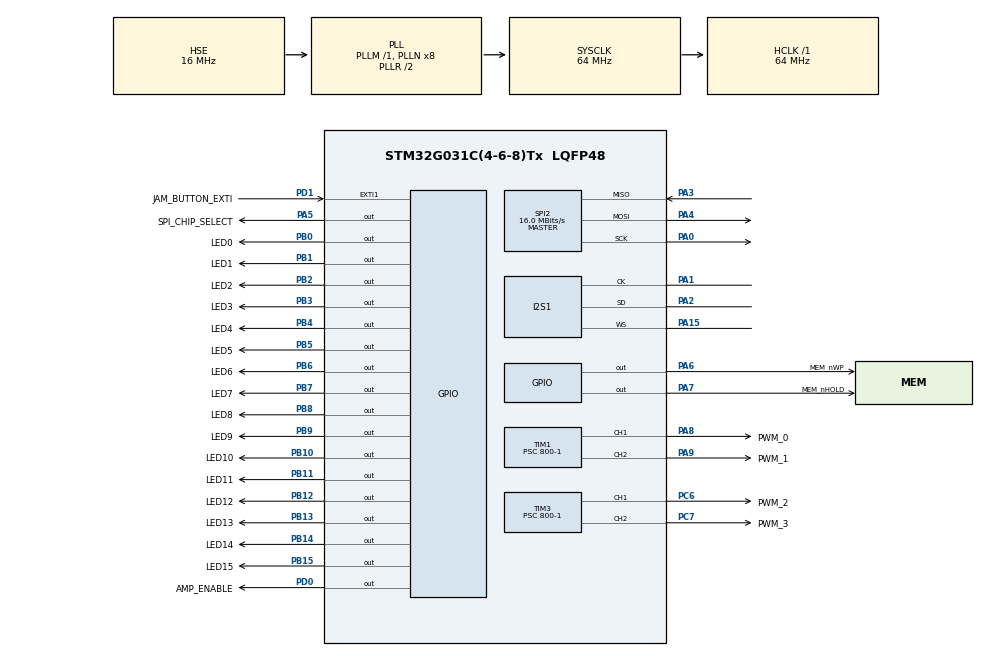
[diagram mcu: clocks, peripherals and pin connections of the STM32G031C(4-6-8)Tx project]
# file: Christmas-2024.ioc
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Dma.Request0=SPI1_TX
Dma.SPI1_TX.0.Direction=DMA_MEMORY_TO_PERIPH
Dma.SPI1_TX.0.EventEnable=DISABLE
Dma.SPI1_TX.0.Instance=DMA1_Channel1
Dma.SPI1_TX.0.MemDataAlignment=DMA_MDATAALIGN_HALFWORD
Dma.SPI1_TX.0.MemInc=DMA_MINC_ENABLE
Dma.SPI1_TX.0.Mode=DMA_CIRCULAR
Dma.SPI1_TX.0.PeriphDataAlignment=DMA_PDATAALIGN_HALFWORD
Dma.SPI1_TX.0.PeriphInc=DMA_PINC_DISABLE
Dma.SPI1_TX.0.Polarity=HAL_DMAMUX_REQ_GEN_RISING
Dma.SPI1_TX.0.Priority=DMA_PRIORITY_VERY_HIGH
Dma.SPI1_TX.0.RequestNumber=1
Dma.SPI1_TX.0.SignalID=NONE
Dma.SPI1_TX.0.SyncEnable=DISABLE
Dma.SPI1_TX.0.SyncPolarity=HAL_DMAMUX_SYNC_NO_EVENT
Dma.SPI1_TX.0.SyncRequestNumber=1
Dma.SPI1_TX.0.SyncSignalID=NONE
I2S1.AudioFreq=I2S_AUDIOFREQ_44K
I2S1.ErrorAudioFreq=1.0 %
I2S1.FullDuplexMode=I2S_FULLDUPLEXMODE_DISABLE
I2S1.Instance=SPI$Index
I2S1.RealAudioFreq=44.444 KHz
I2S1.VirtualMode=I2S_MODE_MASTER
Mcu.Family=STM32G0
Mcu.Name=STM32G031C(4-6-8)Tx
Mcu.Package=LQFP48
NVIC.DMA1_Channel1_IRQn=true\:0\:0\:false\:false\:true\:false\:true\:true
NVIC.EXTI0_1_IRQn=true\:0\:0\:false\:false\:true\:true\:true\:true
NVIC.RCC_IRQn=true\:0\:0\:false\:false\:true\:true\:false\:true
NVIC.TIM16_IRQn=true\:0\:0\:false\:false\:true\:true\:true\:true
NVIC.TIM17_IRQn=true\:0\:0\:false\:false\:true\:true\:true\:true
PA0.Mode=Full_Duplex_Master
PA0.Signal=SPI2_SCK
PA1.Mode=Half_Duplex_Master
PA1.Signal=I2S1_CK
PA13.Mode=Serial_Wire
PA13.Signal=SYS_SWDIO
PA14-BOOT0.Mode=Serial_Wire
PA14-BOOT0.Signal=SYS_SWCLK
PA15.Mode=Half_Duplex_Master
PA15.Signal=I2S1_WS
PA2.Mode=Half_Duplex_Master
PA2.Signal=I2S1_SD
PA3.Mode=Full_Duplex_Master
PA3.Signal=SPI2_MISO
PA4.Mode=Full_Duplex_Master
PA4.Signal=SPI2_MOSI
PA5.GPIO_Label=SPI_CHIP_SELECT
PA5.PinState=GPIO_PIN_SET
PA5.Signal=GPIO_Output
PA6.GPIO_Label=MEM_nWP
PA6.PinState=GPIO_PIN_SET
PA6.Signal=GPIO_Output
PA7.GPIO_Label=MEM_nHOLD
PA7.PinState=GPIO_PIN_SET
PA7.Signal=GPIO_Output
PA8.GPIO_Label=PWM_0
PA8.Signal=S_TIM1_CH1
PA9.GPIO_Label=PWM_1
PA9.Signal=S_TIM1_CH2
PB0.GPIO_Label=LED0
PB0.Signal=GPIO_Output
PB1.GPIO_Label=LED1
PB1.Signal=GPIO_Output
PB10.GPIO_Label=LED10
PB10.Signal=GPIO_Output
PB11.GPIO_Label=LED11
PB11.Signal=GPIO_Output
PB12.GPIO_Label=LED12
PB12.Signal=GPIO_Output
PB13.GPIO_Label=LED13
PB13.Signal=GPIO_Output
PB14.GPIO_Label=LED14
PB14.Signal=GPIO_Output
PB15.GPIO_Label=LED15
PB15.Signal=GPIO_Output
PB2.GPIO_Label=LED2
PB2.Signal=GPIO_Output
PB3.GPIO_Label=LED3
PB3.Signal=GPIO_Output
PB4.GPIO_Label=LED4
PB4.Signal=GPIO_Output
PB5.GPIO_Label=LED5
PB5.Signal=GPIO_Output
PB6.GPIO_Label=LED6
PB6.Signal=GPIO_Output
PB7.GPIO_Label=LED7
PB7.Signal=GPIO_Output
PB8.GPIO_Label=LED8
PB8.Signal=GPIO_Output
PB9.GPIO_Label=LED9
PB9.Signal=GPIO_Output
PC6.GPIO_Label=PWM_2
PC6.Signal=S_TIM3_CH1
PC7.GPIO_Label=PWM_3
PC7.Signal=S_TIM3_CH2
PD0.GPIO_Label=AMP_ENABLE
PD0.Signal=GPIO_Output
PD1.GPIO_Label=JAM_BUTTON_EXTI
PD1.GPIO_ModeDefaultEXTI=GPIO_MODE_IT_FALLING
PD1.GPIO_PuPd=GPIO_PULLUP
PD1.Signal=GPXTI1
PF0-OSC_IN\ (PF0).Mode=HSE-External-Oscillator
PF0-OSC_IN\ (PF0).Signal=RCC_OSC_IN
PF1-OSC_OUT\ (PF1).Mode=HSE-External-Oscillator
PF1-OSC_OUT\ (PF1).Signal=RCC_OSC_OUT
ProjectManager.HeapSize=0x200
ProjectManager.StackSize=0x400
ProjectManager.TargetToolchain=STM32CubeIDE
RCC.ADCFreq_Value=64000000
RCC.AHBFreq_Value=64000000
RCC.CortexFreq_Value=64000000
RCC.EXTERNAL_CLOCK_VALUE=12288000
RCC.HCLKFreq_Value=64000000
RCC.HSE_VALUE=16000000
RCC.HSI_VALUE=16000000
RCC.LSE_VALUE=32768
RCC.PLLP=RCC_PLLP_DIV4
RCC.PLLQ=RCC_PLLQ_DIV4
RCC.PLLSourceVirtual=RCC_PLLSOURCE_HSE
RCC.SYSCLKFreq_VALUE=64000000
RCC.SYSCLKSource=RCC_SYSCLKSOURCE_PLLCLK
RCC.VCOOutputFreq_Value=128000000
SH.S_TIM1_CH1.0=TIM1_CH1,PWM Generation1 CH1
SH.S_TIM1_CH2.0=TIM1_CH2,PWM Generation2 CH2
SH.S_TIM3_CH1.0=TIM3_CH1,PWM Generation1 CH1
SH.S_TIM3_CH2.0=TIM3_CH2,PWM Generation2 CH2
SPI2.BaudRatePrescaler=SPI_BAUDRATEPRESCALER_4
SPI2.CLKPhase=SPI_PHASE_1EDGE
SPI2.CalculateBaudRate=16.0 MBits/s
SPI2.Direction=SPI_DIRECTION_2LINES
SPI2.Mode=SPI_MODE_MASTER
SPI2.VirtualType=VM_MASTER
TIM1.Channel-PWM\ Generation1\ CH1=TIM_CHANNEL_1
TIM1.Channel-PWM\ Generation2\ CH2=TIM_CHANNEL_2
TIM1.Period=100-1
TIM1.Prescaler=800-1
TIM14.Prescaler=244*4
TIM16.Period=50674
TIM16.Prescaler=127
TIM17.Period=63999
TIM3.Channel-PWM\ Generation1\ CH1=TIM_CHANNEL_1
TIM3.Channel-PWM\ Generation2\ CH2=TIM_CHANNEL_2
TIM3.Period=100-1
TIM3.Prescaler=800-1
VP_TIM14_VS_ClockSourceINT.Mode=Enable_Timer
VP_TIM16_VS_ClockSourceINT.Mode=Enable_Timer
VP_TIM17_VS_ClockSourceINT.Mode=Enable_Timer
board=custom

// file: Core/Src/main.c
/* USER CODE BEGIN Header */
/**
  ******************************************************************************
  * @file           : main.c
  * @brief          : Main program body
  ******************************************************************************
  * @attention
  *
  * Copyright (c) 2024 STMicroelectronics.
  * All rights reserved.
  *
  * This software is licensed under terms that can be found in the LICENSE file
  * in the root directory of this software component.
  * If no LICENSE file comes with this software, it is provided AS-IS.
  *
  ******************************************************************************
  */
/* USER CODE END Header */
#include "main.h"

/* USER CODE BEGIN Includes */

/*
 * Include board-specific variable mappings
 */
#ifndef CHRISTMAS24_VARS_H_
#include "Christmas24_Vars.h"
#endif

/*
 * Include SPI Flash Memeory Driver
 */
#ifndef W25QXXX_H_
#include "W25Qxxx.h"
#endif

/*
 * Include I2S Amplifier Driver
 */
#ifndef NAU8315YG_H_
#include "NAU8315YG.h"
#endif

/* USER CODE END Includes */

I2S_HandleTypeDef hi2s1;
DMA_HandleTypeDef hdma_spi1_tx;

SPI_HandleTypeDef hspi2;

TIM_HandleTypeDef htim1;
TIM_HandleTypeDef htim3;
TIM_HandleTypeDef htim14;
TIM_HandleTypeDef htim16;
TIM_HandleTypeDef htim17;

/* USER CODE BEGIN PV */

/*
 * Timers
 */

// Timer to be used for non-blocking delays
TIM_HandleTypeDef *timerDelay = &htim14;

// Timer(s) to PWM display
TIM_HandleTypeDef *timerPWM[4] = {&htim1, &htim1, &htim3, &htim3};

// Timer to time LED changes
TIM_HandleTypeDef *timerLED = &htim16;

// Timer to perform dimming
TIM_HandleTypeDef *timerDim = &htim17;

/*
 * SPI Flash memory struct
 */
W25Q spiFlash;

/*
 * I2S amplifier struct
 */
NAU8315YG i2sAmp;

/*
 * DMA buffers & flags
 */

// Two buffers to ping-pong in between for SPI RX
uint8_t spiRxBuff[BUFFER_SIZE];

// Single circular output buffer to TX I2S audio data
uint16_t i2sTxBuff[BUFFER_SIZE * 2];
//uint16_t i2sTxBuff[BUFFER_SIZE * 2];

// Shall jam be started?
bool jamStart = false;

// Are we already jamming?
bool inJam = false;

bool stopStream = false;

// Variable to keep track of where to read audio data from in memory
uint32_t flashReadAddr = initialMemoryOffset;

// Used to keep track of where the song is and trigger LED changes.
uint32_t songIndex = 0;

uint8_t audioEn = 1;

uint32_t dimIndex = 0;

uint8_t dimNum = 0;

uint8_t systemPWM = 50;

uint32_t timerChangeIndex[7] = {1034, 0x00, 0x00, 1470, 1790, 2154, 2154 + 28};

/* USER CODE END PV */

void SystemClock_Config(void);
static void MX_GPIO_Init(void);
static void MX_DMA_Init(void);
static void MX_I2S1_Init(void);
static void MX_SPI2_Init(void);
static void MX_TIM14_Init(void);
static void MX_TIM1_Init(void);
static void MX_TIM3_Init(void);
static void MX_TIM16_Init(void);
static void MX_TIM17_Init(void);
/* USER CODE BEGIN PFP */

void flashInit(void);

/*
 * Displays non-critical error on debug LED and continues functionality
 */
void dispFault();

/*
 * Displays Critical Error on clock and halts all functionality
 */
void dispFailure();

/*
 * Begins double-buffered DMA streams to provide audio output
 */
void startAudioStream(void);

/*
 * Halts double-buffered DMA streams
 */
void stopAudioStream(void);

// Fills I2S tx buffer at a given array index offset
void fillTxBuffer(uint16_t offset);

/* USER CODE END PFP */

/* USER CODE BEGIN 0 */

int main(void)
{

	 /* USER CODE BEGIN 1 */

	  /* USER CODE END 1 */

	  /* MCU Configuration--------------------------------------------------------*/

	  /* Reset of all peripherals, Initializes the Flash interface and the Systick. */
		HAL_Init();

	  /* USER CODE BEGIN Init */

	  /* USER CODE END Init */

	  /* Configure the system clock */
	  SystemClock_Config();

	  /* USER CODE BEGIN SysInit */

	  /* USER CODE END SysInit */

	  /* Initialize all configured peripherals */
	  MX_GPIO_Init();
	  MX_DMA_Init();
	  MX_I2S1_Init();
	  MX_SPI2_Init();
	  MX_TIM1_Init();
	  MX_TIM3_Init();
	  MX_TIM14_Init();
	  MX_TIM16_Init();
	  MX_TIM17_Init();
	  /* USER CODE BEGIN 2 */

	  flashInit();

		// Init Memory Chip
		uint8_t initRet = W25Q_Init(&spiFlash, nCSPort, nWPPort, nHOLDPort,
				 nCSPin, nWPPin, nHOLDPin, &hspi2, spiFlash_devID, spiFlash_isQuadChip, spiFlash_driveStrength);

		// Enter error loop if there's an error in initialization
		if( (initRet == 1) || (initRet == 7) ) {
			/* Critical Errors:
			* 1 = Failure to release chip from power down
			* 7 = Failure to disable write protection
			*/
			dispFailure();
		}
		else if ( ((initRet >= 2) && (initRet <= 6)) || (initRet == 8) ) {
			/*
			* Non-critical Errors:
			* 2 = Failure to reset chip
			* 3,6,8 = Failure to read status registers
			* 4 = Failure to set driver strength
			* 5 = Failure to read device ID
			*/
			dispFault();
		}
		else if(initRet == 0) {
			// initRet = 0 = all is well
			__NOP();
		}

		// Init i2s amplifier
		NAU8315YG_Init(&i2sAmp, &hi2s1, i2sAmp_enablePort, i2sAmp_enablePin);

		// Increase SPI clk driver power
		GPIOA->OSPEEDR |= 0b11;

		timerChangeIndex[1] = timerChangeIndex[0] + 70;
		timerChangeIndex[2] = timerChangeIndex[1] + 66;

	  /* USER CODE END 2 */

	/* Infinite loop */
	/* USER CODE BEGIN WHILE */

	while (1)
	{

		if(jamStart && !inJam) {
			startAudioStream();
		}

	  /* USER CODE END WHILE */

	  /* USER CODE BEGIN 3 */

	}
	/* USER CODE END 3 */
}

/* USER CODE END 0 */

void SystemClock_Config(void)
{
  RCC_OscInitTypeDef RCC_OscInitStruct = {0};
  RCC_ClkInitTypeDef RCC_ClkInitStruct = {0};

  /** Configure the main internal regulator output voltage
  */
  HAL_PWREx_ControlVoltageScaling(PWR_REGULATOR_VOLTAGE_SCALE1);

  /** Initializes the RCC Oscillators according to the specified parameters
  * in the RCC_OscInitTypeDef structure.
  */
  RCC_OscInitStruct.OscillatorType = RCC_OSCILLATORTYPE_HSE;
  RCC_OscInitStruct.HSEState = RCC_HSE_ON;
  RCC_OscInitStruct.PLL.PLLState = RCC_PLL_ON;
  RCC_OscInitStruct.PLL.PLLSource = RCC_PLLSOURCE_HSE;
  RCC_OscInitStruct.PLL.PLLM = RCC_PLLM_DIV1;
  RCC_OscInitStruct.PLL.PLLN = 8;
  RCC_OscInitStruct.PLL.PLLP = RCC_PLLP_DIV4;
  RCC_OscInitStruct.PLL.PLLQ = RCC_PLLQ_DIV4;
  RCC_OscInitStruct.PLL.PLLR = RCC_PLLR_DIV2;
  if (HAL_RCC_OscConfig(&RCC_OscInitStruct) != HAL_OK)
  {
    Error_Handler();
  }

  /** Initializes the CPU, AHB and APB buses clocks
  */
  RCC_ClkInitStruct.ClockType = RCC_CLOCKTYPE_HCLK|RCC_CLOCKTYPE_SYSCLK
                              |RCC_CLOCKTYPE_PCLK1;
  RCC_ClkInitStruct.SYSCLKSource = RCC_SYSCLKSOURCE_PLLCLK;
  RCC_ClkInitStruct.AHBCLKDivider = RCC_SYSCLK_DIV1;
  RCC_ClkInitStruct.APB1CLKDivider = RCC_HCLK_DIV1;

  if (HAL_RCC_ClockConfig(&RCC_ClkInitStruct, FLASH_LATENCY_2) != HAL_OK)
  {
    Error_Handler();
  }
}

static void MX_I2S1_Init(void)
{

  hi2s1.Instance = SPI1;
  hi2s1.Init.Mode = I2S_MODE_MASTER_TX;
  hi2s1.Init.Standard = I2S_STANDARD_PHILIPS;
  hi2s1.Init.DataFormat = I2S_DATAFORMAT_16B;
  hi2s1.Init.MCLKOutput = I2S_MCLKOUTPUT_DISABLE;
  hi2s1.Init.AudioFreq = I2S_AUDIOFREQ_44K;
  hi2s1.Init.CPOL = I2S_CPOL_LOW;
  if (HAL_I2S_Init(&hi2s1) != HAL_OK)
  {
    Error_Handler();
  }

}

static void MX_SPI2_Init(void)
{

  /* SPI2 parameter configuration*/
  hspi2.Instance = SPI2;
  hspi2.Init.Mode = SPI_MODE_MASTER;
  hspi2.Init.Direction = SPI_DIRECTION_2LINES;
  hspi2.Init.DataSize = SPI_DATASIZE_8BIT;
  hspi2.Init.CLKPolarity = SPI_POLARITY_LOW;
  hspi2.Init.CLKPhase = SPI_PHASE_1EDGE;
  hspi2.Init.NSS = SPI_NSS_SOFT;
  hspi2.Init.BaudRatePrescaler = SPI_BAUDRATEPRESCALER_4;
  hspi2.Init.FirstBit = SPI_FIRSTBIT_MSB;
  hspi2.Init.TIMode = SPI_TIMODE_DISABLE;
  hspi2.Init.CRCCalculation = SPI_CRCCALCULATION_DISABLE;
  hspi2.Init.CRCPolynomial = 7;
  hspi2.Init.CRCLength = SPI_CRC_LENGTH_DATASIZE;
  hspi2.Init.NSSPMode = SPI_NSS_PULSE_ENABLE;
  if (HAL_SPI_Init(&hspi2) != HAL_OK)
  {
    Error_Handler();
  }

}

static void MX_TIM1_Init(void)
{

  TIM_MasterConfigTypeDef sMasterConfig = {0};
  TIM_OC_InitTypeDef sConfigOC = {0};
  TIM_BreakDeadTimeConfigTypeDef sBreakDeadTimeConfig = {0};

  htim1.Instance = TIM1;
  htim1.Init.Prescaler = 800-1;
  htim1.Init.CounterMode = TIM_COUNTERMODE_UP;
  htim1.Init.Period = 100-1;
  htim1.Init.ClockDivision = TIM_CLOCKDIVISION_DIV1;
  htim1.Init.RepetitionCounter = 0;
  htim1.Init.AutoReloadPreload = TIM_AUTORELOAD_PRELOAD_DISABLE;
  if (HAL_TIM_PWM_Init(&htim1) != HAL_OK)
  {
    Error_Handler();
  }
  sMasterConfig.MasterOutputTrigger = TIM_TRGO_RESET;
  sMasterConfig.MasterOutputTrigger2 = TIM_TRGO2_RESET;
  sMasterConfig.MasterSlaveMode = TIM_MASTERSLAVEMODE_DISABLE;
  if (HAL_TIMEx_MasterConfigSynchronization(&htim1, &sMasterConfig) != HAL_OK)
  {
    Error_Handler();
  }
  sConfigOC.OCMode = TIM_OCMODE_PWM1;
  sConfigOC.Pulse = 0;
  sConfigOC.OCPolarity = TIM_OCPOLARITY_HIGH;
  sConfigOC.OCNPolarity = TIM_OCNPOLARITY_HIGH;
  sConfigOC.OCFastMode = TIM_OCFAST_DISABLE;
  sConfigOC.OCIdleState = TIM_OCIDLESTATE_RESET;
  sConfigOC.OCNIdleState = TIM_OCNIDLESTATE_RESET;
  if (HAL_TIM_PWM_ConfigChannel(&htim1, &sConfigOC, TIM_CHANNEL_1) != HAL_OK)
  {
    Error_Handler();
  }
  if (HAL_TIM_PWM_ConfigChannel(&htim1, &sConfigOC, TIM_CHANNEL_2) != HAL_OK)
  {
    Error_Handler();
  }
  sBreakDeadTimeConfig.OffStateRunMode = TIM_OSSR_DISABLE;
  sBreakDeadTimeConfig.OffStateIDLEMode = TIM_OSSI_DISABLE;
  sBreakDeadTimeConfig.LockLevel = TIM_LOCKLEVEL_OFF;
  sBreakDeadTimeConfig.DeadTime = 0;
  sBreakDeadTimeConfig.BreakState = TIM_BREAK_DISABLE;
  sBreakDeadTimeConfig.BreakPolarity = TIM_BREAKPOLARITY_HIGH;
  sBreakDeadTimeConfig.BreakFilter = 0;
  sBreakDeadTimeConfig.BreakAFMode = TIM_BREAK_AFMODE_INPUT;
  sBreakDeadTimeConfig.Break2State = TIM_BREAK2_DISABLE;
  sBreakDeadTimeConfig.Break2Polarity = TIM_BREAK2POLARITY_HIGH;
  sBreakDeadTimeConfig.Break2Filter = 0;
  sBreakDeadTimeConfig.Break2AFMode = TIM_BREAK_AFMODE_INPUT;
  sBreakDeadTimeConfig.AutomaticOutput = TIM_AUTOMATICOUTPUT_DISABLE;
  if (HAL_TIMEx_ConfigBreakDeadTime(&htim1, &sBreakDeadTimeConfig) != HAL_OK)
  {
    Error_Handler();
  }
  HAL_TIM_MspPostInit(&htim1);

}

static void MX_TIM3_Init(void)
{

  TIM_MasterConfigTypeDef sMasterConfig = {0};
  TIM_OC_InitTypeDef sConfigOC = {0};

  htim3.Instance = TIM3;
  htim3.Init.Prescaler = 800-1;
  htim3.Init.CounterMode = TIM_COUNTERMODE_UP;
  htim3.Init.Period = 100-1;
  htim3.Init.ClockDivision = TIM_CLOCKDIVISION_DIV1;
  htim3.Init.AutoReloadPreload = TIM_AUTORELOAD_PRELOAD_DISABLE;
  if (HAL_TIM_PWM_Init(&htim3) != HAL_OK)
  {
    Error_Handler();
  }
  sMasterConfig.MasterOutputTrigger = TIM_TRGO_RESET;
  sMasterConfig.MasterSlaveMode = TIM_MASTERSLAVEMODE_DISABLE;
  if (HAL_TIMEx_MasterConfigSynchronization(&htim3, &sMasterConfig) != HAL_OK)
  {
    Error_Handler();
  }
  sConfigOC.OCMode = TIM_OCMODE_PWM1;
  sConfigOC.Pulse = 0;
  sConfigOC.OCPolarity = TIM_OCPOLARITY_HIGH;
  sConfigOC.OCFastMode = TIM_OCFAST_DISABLE;
  if (HAL_TIM_PWM_ConfigChannel(&htim3, &sConfigOC, TIM_CHANNEL_1) != HAL_OK)
  {
    Error_Handler();
  }
  if (HAL_TIM_PWM_ConfigChannel(&htim3, &sConfigOC, TIM_CHANNEL_2) != HAL_OK)
  {
    Error_Handler();
  }
  HAL_TIM_MspPostInit(&htim3);

}

static void MX_TIM14_Init(void)
{

  htim14.Instance = TIM14;
  htim14.Init.Prescaler = 244*4;
  htim14.Init.CounterMode = TIM_COUNTERMODE_UP;
  htim14.Init.Period = 65535;
  htim14.Init.ClockDivision = TIM_CLOCKDIVISION_DIV1;
  htim14.Init.AutoReloadPreload = TIM_AUTORELOAD_PRELOAD_DISABLE;
  if (HAL_TIM_Base_Init(&htim14) != HAL_OK)
  {
    Error_Handler();
  }

}

static void MX_TIM16_Init(void)
{

  htim16.Instance = TIM16;
  htim16.Init.Prescaler = 127;
  htim16.Init.CounterMode = TIM_COUNTERMODE_UP;
  htim16.Init.Period = 50674;
  htim16.Init.ClockDivision = TIM_CLOCKDIVISION_DIV1;
  htim16.Init.RepetitionCounter = 0;
  htim16.Init.AutoReloadPreload = TIM_AUTORELOAD_PRELOAD_DISABLE;
  if (HAL_TIM_Base_Init(&htim16) != HAL_OK)
  {
    Error_Handler();
  }

}

static void MX_TIM17_Init(void)
{

  htim17.Instance = TIM17;
  htim17.Init.Prescaler = 4-1;
  htim17.Init.CounterMode = TIM_COUNTERMODE_UP;
  htim17.Init.Period = 63999;
  htim17.Init.ClockDivision = TIM_CLOCKDIVISION_DIV1;
  htim17.Init.RepetitionCounter = 0;
  htim17.Init.AutoReloadPreload = TIM_AUTORELOAD_PRELOAD_DISABLE;
  if (HAL_TIM_Base_Init(&htim17) != HAL_OK)
  {
    Error_Handler();
  }

}

static void MX_DMA_Init(void)
{

  /* DMA controller clock enable */
  __HAL_RCC_DMA1_CLK_ENABLE();

  /* DMA interrupt init */
  /* DMA1_Channel1_IRQn interrupt configuration */
  HAL_NVIC_SetPriority(DMA1_Channel1_IRQn, 0, 0);
  HAL_NVIC_EnableIRQ(DMA1_Channel1_IRQn);

}

static void MX_GPIO_Init(void)
{
  GPIO_InitTypeDef GPIO_InitStruct = {0};

  /* GPIO Ports Clock Enable */
  __HAL_RCC_GPIOF_CLK_ENABLE();
  __HAL_RCC_GPIOA_CLK_ENABLE();
  __HAL_RCC_GPIOB_CLK_ENABLE();
  __HAL_RCC_GPIOC_CLK_ENABLE();
  __HAL_RCC_GPIOD_CLK_ENABLE();

  /*Configure GPIO pin Output Level */
  HAL_GPIO_WritePin(GPIOA, SPI_CHIP_SELECT_Pin|MEM_nWP_Pin|MEM_nHOLD_Pin, GPIO_PIN_SET);

  /*Configure GPIO pin Output Level */
  HAL_GPIO_WritePin(GPIOB, LED0_Pin|LED1_Pin|LED2_Pin|LED10_Pin
                          |LED11_Pin|LED12_Pin|LED13_Pin|LED14_Pin
                          |LED15_Pin|LED3_Pin|LED4_Pin|LED5_Pin
                          |LED6_Pin|LED7_Pin|LED8_Pin|LED9_Pin, GPIO_PIN_RESET);

  /*Configure GPIO pin Output Level */
  HAL_GPIO_WritePin(AMP_ENABLE_GPIO_Port, AMP_ENABLE_Pin, GPIO_PIN_RESET);

  /*Configure GPIO pins : SPI_CHIP_SELECT_Pin MEM_nWP_Pin MEM_nHOLD_Pin */
  GPIO_InitStruct.Pin = SPI_CHIP_SELECT_Pin|MEM_nWP_Pin|MEM_nHOLD_Pin;
  GPIO_InitStruct.Mode = GPIO_MODE_OUTPUT_PP;
  GPIO_InitStruct.Pull = GPIO_NOPULL;
  GPIO_InitStruct.Speed = GPIO_SPEED_FREQ_LOW;
  HAL_GPIO_Init(GPIOA, &GPIO_InitStruct);

  /*Configure GPIO pins : LED0_Pin LED1_Pin LED2_Pin LED10_Pin
                           LED11_Pin LED12_Pin LED13_Pin LED14_Pin
                           LED15_Pin LED3_Pin LED4_Pin LED5_Pin
                           LED6_Pin LED7_Pin LED8_Pin LED9_Pin */
  GPIO_InitStruct.Pin = LED0_Pin|LED1_Pin|LED2_Pin|LED10_Pin
                          |LED11_Pin|LED12_Pin|LED13_Pin|LED14_Pin
                          |LED15_Pin|LED3_Pin|LED4_Pin|LED5_Pin
                          |LED6_Pin|LED7_Pin|LED8_Pin|LED9_Pin;
  GPIO_InitStruct.Mode = GPIO_MODE_OUTPUT_PP;
  GPIO_InitStruct.Pull = GPIO_NOPULL;
  GPIO_InitStruct.Speed = GPIO_SPEED_FREQ_LOW;
  HAL_GPIO_Init(GPIOB, &GPIO_InitStruct);

  /*Configure GPIO pin : AMP_ENABLE_Pin */
  GPIO_InitStruct.Pin = AMP_ENABLE_Pin;
  GPIO_InitStruct.Mode = GPIO_MODE_OUTPUT_PP;
  GPIO_InitStruct.Pull = GPIO_NOPULL;
  GPIO_InitStruct.Speed = GPIO_SPEED_FREQ_LOW;
  HAL_GPIO_Init(AMP_ENABLE_GPIO_Port, &GPIO_InitStruct);

  /*Configure GPIO pin : JAM_BUTTON_EXTI_Pin */
  GPIO_InitStruct.Pin = JAM_BUTTON_EXTI_Pin;
  GPIO_InitStruct.Mode = GPIO_MODE_IT_FALLING;
  GPIO_InitStruct.Pull = GPIO_PULLUP;
  HAL_GPIO_Init(JAM_BUTTON_EXTI_GPIO_Port, &GPIO_InitStruct);

  /* EXTI interrupt init*/
  HAL_NVIC_SetPriority(EXTI0_1_IRQn, 0, 0);
  HAL_NVIC_EnableIRQ(EXTI0_1_IRQn);

}

/* USER CODE BEGIN 4 */

void flashInit(void) {

	uint8_t initPWM = systemPWM;
	uint8_t delay = 40;

	__HAL_TIM_SET_COMPARE(timerPWM[0], PWMChannels[0], initPWM);
	HAL_TIM_PWM_Start(timerPWM[0], PWMChannels[0]);
	__HAL_TIM_SET_COMPARE(timerPWM[1], PWMChannels[1], initPWM);
	HAL_TIM_PWM_Start(timerPWM[1], PWMChannels[1]);
	__HAL_TIM_SET_COMPARE(timerPWM[2], PWMChannels[2], initPWM);
	HAL_TIM_PWM_Start(timerPWM[2], PWMChannels[2]);
	__HAL_TIM_SET_COMPARE(timerPWM[3], PWMChannels[3], initPWM);
	HAL_TIM_PWM_Start(timerPWM[3], PWMChannels[3]);

	GPIO_TypeDef *GPIOPort = GPIOB;

	const uint16_t GPIOPins[16] = {GPIO_PIN_0, GPIO_PIN_1, GPIO_PIN_2, GPIO_PIN_3,
									GPIO_PIN_4, GPIO_PIN_5, GPIO_PIN_6, GPIO_PIN_7,
									GPIO_PIN_8, GPIO_PIN_9, GPIO_PIN_10, GPIO_PIN_11,
									GPIO_PIN_12, GPIO_PIN_13, GPIO_PIN_14, GPIO_PIN_15};

	for(int i = 0; i < 16; i++) {

		HAL_GPIO_WritePin(GPIOPort, GPIOPins[i], GPIO_PIN_SET);
		HAL_Delay(delay);
		HAL_GPIO_WritePin(GPIOPort, GPIOPins[i], GPIO_PIN_RESET);

	}
	for(int i = 15; i >= 0; i--) {

		HAL_GPIO_WritePin(GPIOPort, GPIOPins[i], GPIO_PIN_SET);
		HAL_Delay(delay);
		HAL_GPIO_WritePin(GPIOPort, GPIOPins[i], GPIO_PIN_RESET);

	}

	__HAL_TIM_SET_COMPARE(timerPWM[0], PWMChannels[0], systemPWM / 2);
	__HAL_TIM_SET_COMPARE(timerPWM[1], PWMChannels[1], systemPWM / 2);
	__HAL_TIM_SET_COMPARE(timerPWM[2], PWMChannels[2], systemPWM / 2);
	__HAL_TIM_SET_COMPARE(timerPWM[3], PWMChannels[3], systemPWM / 2);

	GPIOB->ODR = 0xFFFF;

}

/*
 * General Falling-Edge EXTI Callback function
 *
 * Internal conditional determines which function to call
 * based on which button was pressed.
 */
void HAL_GPIO_EXTI_Falling_Callback(uint16_t GPIO_Pin) {

	if(GPIO_Pin == jamButtonPin) {
		jamStart = true;
	}

}

/*
 * Used for LED Timing
 *
 */
void HAL_TIM_PeriodElapsedCallback(TIM_HandleTypeDef *htim) {

	if(htim == timerLED) {

		GPIOB->ODR = leds[songIndex];

		if(songIndex == 503) {
			// Start timer to change PWM duty cycle
			HAL_TIM_Base_Start_IT(timerDim);
			dimNum = 1;
		}
		else if(songIndex == 571) {
			HAL_TIM_Base_Start_IT(timerDim);
			dimNum = 2;
			dimIndex = 0;

			__HAL_TIM_SET_COMPARE(timerPWM[2], PWMChannels[2], systemPWM);
			__HAL_TIM_SET_COMPARE(timerPWM[3], PWMChannels[3], systemPWM);
		}
		else if (songIndex == 629) {
			HAL_TIM_Base_Start_IT(timerDim);
			dimNum = 3;
			dimIndex = 0;

			__HAL_TIM_SET_COMPARE(timerPWM[0], PWMChannels[0], systemPWM);
			__HAL_TIM_SET_COMPARE(timerPWM[1], PWMChannels[1], systemPWM);
		}
		else if (songIndex == 693) {
			dimNum = 4;
			dimIndex = 0;
			HAL_TIM_Base_Stop_IT(timerDim);
			__HAL_TIM_SET_COMPARE(timerPWM[0], PWMChannels[0], systemPWM);
			__HAL_TIM_SET_COMPARE(timerPWM[1], PWMChannels[1], systemPWM);
			__HAL_TIM_SET_COMPARE(timerPWM[2], PWMChannels[2], systemPWM);
			__HAL_TIM_SET_COMPARE(timerPWM[3], PWMChannels[3], systemPWM);

		}
		else if (songIndex == 973) {
			dimNum = 5;
			dimIndex = 0;
			HAL_TIM_Base_Start_IT(timerDim);

		}
		else if (songIndex == timerChangeIndex[0]) {
			HAL_TIM_Base_Stop_IT(timerDim);
			dimIndex = 6;
			dimIndex = 0;
			timerDim->Instance->CNT = 0;
			timerDim->Instance->PSC = 3-1;
			timerDim->Instance->ARR = 50000;
			HAL_TIM_Base_Start_IT(timerDim);
		}
		else if (songIndex == timerChangeIndex[0] + 8) {
			dimNum = 7;
			dimIndex = 0;
			HAL_TIM_Base_Stop_IT(timerDim);
			timerDim->Instance->CNT = 0;
			HAL_TIM_Base_Start_IT(timerDim);
		}
		else if (songIndex == timerChangeIndex[0] + 16) {
			dimNum = 8;
			dimIndex = 0;
			HAL_TIM_Base_Stop_IT(timerDim);
			timerDim->Instance->CNT = 0;
			HAL_TIM_Base_Start_IT(timerDim);
		}
		else if (songIndex == timerChangeIndex[0] + 24) {
			dimNum = 9;
			dimIndex = 0;
			HAL_TIM_Base_Stop_IT(timerDim);
			timerDim->Instance->CNT = 0;
			HAL_TIM_Base_Start_IT(timerDim);
		}
		else if (songIndex == timerChangeIndex[0] + 32) {
			dimNum = 10;
			dimIndex = 0;
			HAL_TIM_Base_Stop_IT(timerDim);
			timerDim->Instance->CNT = 0;
			HAL_TIM_Base_Start_IT(timerDim);
		}
		else if (songIndex == timerChangeIndex[0] + 40) {
			dimNum = 11;
			dimIndex = 0;
			HAL_TIM_Base_Stop_IT(timerDim);
			timerDim->Instance->CNT = 0;
			HAL_TIM_Base_Start_IT(timerDim);
		}
		else if (songIndex == timerChangeIndex[0] + 48) {
			dimNum = 12;
			dimIndex = 0;
			HAL_TIM_Base_Stop_IT(timerDim);
			timerDim->Instance->CNT = 0;
			HAL_TIM_Base_Start_IT(timerDim);
		}
		else if (songIndex == timerChangeIndex[0] + 56) {
			dimNum = 13;
			dimIndex = 0;
			HAL_TIM_Base_Stop_IT(timerDim);
			timerDim->Instance->CNT = 0;
			HAL_TIM_Base_Start_IT(timerDim);
		}
		else if (songIndex == timerChangeIndex[0] + 64) {
			dimNum = 135;
			dimIndex = 0;
			HAL_TIM_Base_Stop_IT(timerDim);
			timerDim->Instance->CNT = 0;
			HAL_TIM_Base_Start_IT(timerDim);
		}
		else if (songIndex == timerChangeIndex[1]) {
			dimNum = 14;
			dimIndex = 0;
			HAL_TIM_Base_Stop_IT(timerDim);
			timerDim->Instance->PSC = 5-1;
			timerDim->Instance->ARR = 60000;
			timerDim->Instance->CNT = 0;
			HAL_TIM_Base_Start_IT(timerDim);
		}
		else if (songIndex == timerChangeIndex[1] + 16) {
			dimNum = 15;
			dimIndex = 0;
			HAL_TIM_Base_Stop_IT(timerDim);
			timerDim->Instance->CNT = 0;
			HAL_TIM_Base_Start_IT(timerDim);
		}
		else if (songIndex == timerChangeIndex[1] + 32) {
			dimNum = 16;
			dimIndex = 0;
			HAL_TIM_Base_Stop_IT(timerDim);
			timerDim->Instance->CNT = 0;
			HAL_TIM_Base_Start_IT(timerDim);
		}
		else if (songIndex == timerChangeIndex[1] + 48) {
			dimNum = 17;
			dimIndex = 0;
			HAL_TIM_Base_Stop_IT(timerDim);
			timerDim->Instance->CNT = 0;
			HAL_TIM_Base_Start_IT(timerDim);
		}
		else if (songIndex == timerChangeIndex[2]) {
			dimNum = 18;
			dimIndex = 0;

			timerPWM[0]->Instance->ARR = 800;
			timerPWM[2]->Instance->ARR = 800;
			HAL_TIM_PWM_Start(timerPWM[0], PWMChannels[0]);
			HAL_TIM_PWM_Start(timerPWM[1], PWMChannels[1]);
			HAL_TIM_PWM_Start(timerPWM[2], PWMChannels[2]);
			HAL_TIM_PWM_Start(timerPWM[3], PWMChannels[3]);

			HAL_TIM_Base_Stop_IT(timerDim);
			timerDim->Instance->PSC = 5-1;
			timerDim->Instance->ARR = 60000;
			timerDim->Instance->CNT = 0;
			HAL_TIM_Base_Start_IT(timerDim);
		}
		else if (songIndex == timerChangeIndex[2] + 53) {

			HAL_TIM_Base_Stop_IT(timerDim);

			dimNum = 19;
			dimIndex = 0;

			timerPWM[0]->Instance->ARR = 100;
			timerPWM[2]->Instance->ARR = 100;
			__HAL_TIM_SET_COMPARE(timerPWM[0], PWMChannels[0], systemPWM);
			__HAL_TIM_SET_COMPARE(timerPWM[1], PWMChannels[1], systemPWM);
			__HAL_TIM_SET_COMPARE(timerPWM[2], PWMChannels[2], systemPWM);
			__HAL_TIM_SET_COMPARE(timerPWM[3], PWMChannels[3], systemPWM);
			HAL_TIM_PWM_Start(timerPWM[0], PWMChannels[0]);
			HAL_TIM_PWM_Start(timerPWM[1], PWMChannels[1]);
			HAL_TIM_PWM_Start(timerPWM[2], PWMChannels[2]);
			HAL_TIM_PWM_Start(timerPWM[3], PWMChannels[3]);

		}
		else if (songIndex == timerChangeIndex[3]) {

			// Double Time
			timerLED->Instance->ARR = (timerLED->Instance->ARR) / 2;

		}
		else if (songIndex == timerChangeIndex[4]) {
			// Quad Time
			timerLED->Instance->ARR = ((timerLED->Instance->ARR) / 3)*2;
		}
		else if (songIndex == timerChangeIndex[5])  {

			timerLED->Instance->ARR = 50940;

			dimNum = 20;
			dimIndex = 0;

			timerPWM[0]->Instance->ARR = 800;
			timerPWM[2]->Instance->ARR = 800;
			HAL_TIM_PWM_Start(timerPWM[0], PWMChannels[0]);
			HAL_TIM_PWM_Start(timerPWM[1], PWMChannels[1]);
			HAL_TIM_PWM_Start(timerPWM[2], PWMChannels[2]);
			HAL_TIM_PWM_Start(timerPWM[3], PWMChannels[3]);

			HAL_TIM_Base_Stop_IT(timerDim);
			timerDim->Instance->PSC = 3-1;
			timerDim->Instance->ARR = 60000;
			timerDim->Instance->CNT = 0;
			HAL_TIM_Base_Start_IT(timerDim);

		}
		else if (songIndex == timerChangeIndex[6]) {

			dimNum = 21;
			dimIndex = 0;

			timerPWM[0]->Instance->ARR = 100;
			timerPWM[2]->Instance->ARR = 100;
			__HAL_TIM_SET_COMPARE(timerPWM[0], PWMChannels[0], 0);
			__HAL_TIM_SET_COMPARE(timerPWM[1], PWMChannels[1], 0);
			__HAL_TIM_SET_COMPARE(timerPWM[2], PWMChannels[2], 0);
			__HAL_TIM_SET_COMPARE(timerPWM[3], PWMChannels[3], 0);
			HAL_TIM_PWM_Start(timerPWM[0], PWMChannels[0]);
			HAL_TIM_PWM_Start(timerPWM[1], PWMChannels[1]);
			HAL_TIM_PWM_Start(timerPWM[2], PWMChannels[2]);
			HAL_TIM_PWM_Start(timerPWM[3], PWMChannels[3]);

			HAL_TIM_Base_Stop_IT(timerDim);
			timerDim->Instance->PSC = 17-1;
			timerDim->Instance->ARR = 60000;
			timerDim->Instance->CNT = 0;
			HAL_TIM_Base_Start_IT(timerDim);

		}

		songIndex++;
	}

	else if(htim == timerDim) {

		if(dimNum == 1) {
			__HAL_TIM_SET_COMPARE(timerPWM[0], PWMChannels[0], dimBuff[dimIndex]);
			__HAL_TIM_SET_COMPARE(timerPWM[1], PWMChannels[1], dimBuff[dimIndex]);
			__HAL_TIM_SET_COMPARE(timerPWM[2], PWMChannels[2], dimBuff[DIM_SIZE - dimIndex - 1]);
			__HAL_TIM_SET_COMPARE(timerPWM[3], PWMChannels[3], dimBuff[DIM_SIZE - dimIndex - 1]);
			dimIndex++;
			if(dimIndex == DIM_SIZE) {
				dimIndex = 0;
			}

		}
		else if (dimNum == 2) {
			__HAL_TIM_SET_COMPARE(timerPWM[0], PWMChannels[0], dimBuff[dimIndex]);
			__HAL_TIM_SET_COMPARE(timerPWM[1], PWMChannels[1], dimBuff[dimIndex]);

			dimIndex++;
			if(dimIndex == DIM_SIZE) {
				dimIndex = 0;
			}
		}
		else if (dimNum == 3) {
			__HAL_TIM_SET_COMPARE(timerPWM[2], PWMChannels[2], dimBuff[dimIndex]);
			__HAL_TIM_SET_COMPARE(timerPWM[3], PWMChannels[3], dimBuff[dimIndex]);

			dimIndex++;
			if(dimIndex == DIM_SIZE) {
				dimIndex = 0;
			}
		}
		else if (dimNum == 5) {
			__HAL_TIM_SET_COMPARE(timerPWM[0], PWMChannels[0], dimBuff[dimIndex]);
			__HAL_TIM_SET_COMPARE(timerPWM[1], PWMChannels[1], dimBuff[dimIndex]);
			__HAL_TIM_SET_COMPARE(timerPWM[2], PWMChannels[2], dimBuff[DIM_SIZE - dimIndex - 1]);
			__HAL_TIM_SET_COMPARE(timerPWM[3], PWMChannels[3], dimBuff[DIM_SIZE - dimIndex - 1]);
			dimIndex++;
			if(dimIndex == DIM_SIZE) {
				dimIndex = 0;
			}
		}
		else if (dimNum >= 6 && dimNum <= 13) {

			if(dimIndex < DIM_SIZE + 100) {
				__HAL_TIM_SET_COMPARE(timerPWM[0], PWMChannels[0], dimBuff2[dimIndex]);
				__HAL_TIM_SET_COMPARE(timerPWM[1], PWMChannels[1], dimBuff2[dimIndex]);
				__HAL_TIM_SET_COMPARE(timerPWM[2], PWMChannels[2], dimBuff2[dimIndex]);
				__HAL_TIM_SET_COMPARE(timerPWM[3], PWMChannels[3], dimBuff2[dimIndex]);
				dimIndex += 1;
			}
		}
		else if ((dimNum >= 13 && dimNum <= 17) || dimNum == 135) {

			if(dimIndex < DIM_SIZE + 100) {
				__HAL_TIM_SET_COMPARE(timerPWM[0], PWMChannels[0], dimBuff2[dimIndex]);
				__HAL_TIM_SET_COMPARE(timerPWM[1], PWMChannels[1], dimBuff2[dimIndex]);
				__HAL_TIM_SET_COMPARE(timerPWM[2], PWMChannels[2], dimBuff2[dimIndex]);
				__HAL_TIM_SET_COMPARE(timerPWM[3], PWMChannels[3], dimBuff2[dimIndex]);
				dimIndex += 1;
			}

		}
		else if (dimNum == 18) {
			if(dimIndex < 801) {
				__HAL_TIM_SET_COMPARE(timerPWM[0], PWMChannels[0], dimBuffLog[dimIndex]);
				__HAL_TIM_SET_COMPARE(timerPWM[1], PWMChannels[1], dimBuffLog[dimIndex]);
				__HAL_TIM_SET_COMPARE(timerPWM[2], PWMChannels[2], dimBuffLog[dimIndex]);
				__HAL_TIM_SET_COMPARE(timerPWM[3], PWMChannels[3], dimBuffLog[dimIndex]);
				dimIndex += 1;
			}
		}
		else if (dimNum == 20) {
			if(dimIndex < 801) {
				__HAL_TIM_SET_COMPARE(timerPWM[0], PWMChannels[0], dimBuffLog[dimIndex]);
				__HAL_TIM_SET_COMPARE(timerPWM[1], PWMChannels[1], dimBuffLog[dimIndex]);
				__HAL_TIM_SET_COMPARE(timerPWM[2], PWMChannels[2], dimBuffLog[dimIndex]);
				__HAL_TIM_SET_COMPARE(timerPWM[3], PWMChannels[3], dimBuffLog[dimIndex]);
				dimIndex += 1;
			}
		}
		else if (dimNum == 21) {
			if(dimIndex < 101) {
				__HAL_TIM_SET_COMPARE(timerPWM[0], PWMChannels[0], dimBuff[dimIndex]);
				__HAL_TIM_SET_COMPARE(timerPWM[1], PWMChannels[1], dimBuff[dimIndex]);
				__HAL_TIM_SET_COMPARE(timerPWM[2], PWMChannels[2], dimBuff[dimIndex]);
				__HAL_TIM_SET_COMPARE(timerPWM[3], PWMChannels[3], dimBuff[dimIndex]);
				dimIndex += 1;
			}
		}

	}

}

/*
 * Displays a non-critical fault to indicate reduced functionality
 */
void dispFault(void) {
	GPIOB->ODR |= 0xFFFF;
}

/*
 * Displays a critical failure and ceases all operations
 */
void dispFailure(void) {

//	HAL_TIM_Base_Stop(timerDelay);
//	HAL_TIM_Base_Start(timerDelay);						// Begin timer 16 counting (to 500 ms)
//	uint32_t timerVal = __HAL_TIM_GET_COUNTER(timerDelay);	// Get initial timer value to compare to
//	bool displayBlink = false;
//
//
//	do {
//
//		if(__HAL_TIM_GET_COUNTER(timerDelay) - timerVal >= (65535 / 4)) {		// Use hardware timer to blink/beep display
//
//			HAL_GPIO_TogglePin(debugLEDPort, debugLEDPin);
//
//			timerVal = __HAL_TIM_GET_COUNTER(timerDelay);				// Update timer value
//
//			displayBlink = !displayBlink;							// Toggle display blink counter
//
//
//
//		}
//
//
//	} while(1);

	GPIOB->ODR |= 0xFFFF;

}

/*
 * Begins DMA streams to pull data from memory, process data, and push to i2s amplifier.
 */
void startAudioStream(void) {

	GPIOB->ODR = 0x0000;

	// We are in jam now.
	inJam = true;

	// Reset so as to not trigger it again
	jamStart = false;

	// Pre-fill TX buffer
	fillTxBuffer(0);
	fillTxBuffer(BUFFER_SIZE);

	// Start TX DMA stream
	HAL_I2S_Transmit_DMA(&hi2s1, i2sTxBuff, BUFFER_SIZE * 2);

	// Enable Amplifier
	if(audioEn) {
		NAU8315YG_AmpEnable(&i2sAmp);
	}

	// Start LED timer
	HAL_TIM_Base_Start_IT(timerLED);

	// Interrupts will take care of the rest.

}

/*
 * Halts DMA streams
 */
void stopAudioStream(void) {

	// Disable Amplifier
	NAU8315YG_AmpDisable(&i2sAmp);

	// Stop DMA Stream
	HAL_StatusTypeDef halRet = HAL_I2S_DMAStop(&hi2s1);

	__NOP();

	// Reset memory address pointer
	flashReadAddr = initialMemoryOffset;

	// Not jamming anymore
	inJam = false;

	// Reset song index
	songIndex = 0;

	// Stop LED timer

	halRet = HAL_TIM_Base_Stop_IT(timerLED);
	halRet = HAL_TIM_Base_Stop_IT(timerDim);

	__HAL_TIM_SET_COMPARE(timerPWM[0], PWMChannels[0], systemPWM / 2);
	__HAL_TIM_SET_COMPARE(timerPWM[1], PWMChannels[1], systemPWM / 2);
	__HAL_TIM_SET_COMPARE(timerPWM[2], PWMChannels[2], systemPWM / 2);
	__HAL_TIM_SET_COMPARE(timerPWM[3], PWMChannels[3], systemPWM / 2);

	GPIOB->ODR = 0xFFFF;

}

/*
 * DMA completion callbacks
 */

void HAL_I2S_TxHalfCpltCallback(I2S_HandleTypeDef *hi2s) {

	// Fill first half of i2s TX buffer
	fillTxBuffer(0);

}

void HAL_I2S_TxCpltCallback(I2S_HandleTypeDef *hi2s) {

	// Fill second half of i2s transmit buffer
	fillTxBuffer(BUFFER_SIZE);

}

void fillTxBuffer(uint16_t offset) {

	// Read next chunk of audio data, increment flash read address
	W25Q_readData(&spiFlash, flashReadAddr, BUFFER_SIZE, spiRxBuff);
	flashReadAddr += BUFFER_SIZE;

	// Playing all of a mono file canS-mono-reduced
	 for(uint16_t i = 0; i < BUFFER_SIZE; i += 2) {

		 i2sTxBuff[offset + (i) + 1] = (spiRxBuff[i + 1] << 8) | spiRxBuff[i];

	 }

	// If we have reached the end of the audio clip, reset flash read address
	if(flashReadAddr > audioAddr_END) {

		stopAudioStream();
	}

}

void HAL_I2S_ErrorCallback(I2S_HandleTypeDef *hi2s) {

	//TEST?
	__NOP();

}

/* USER CODE END 4 */

void Error_Handler(void)
{
  __disable_irq();
  while (1)
  {
  }
}
